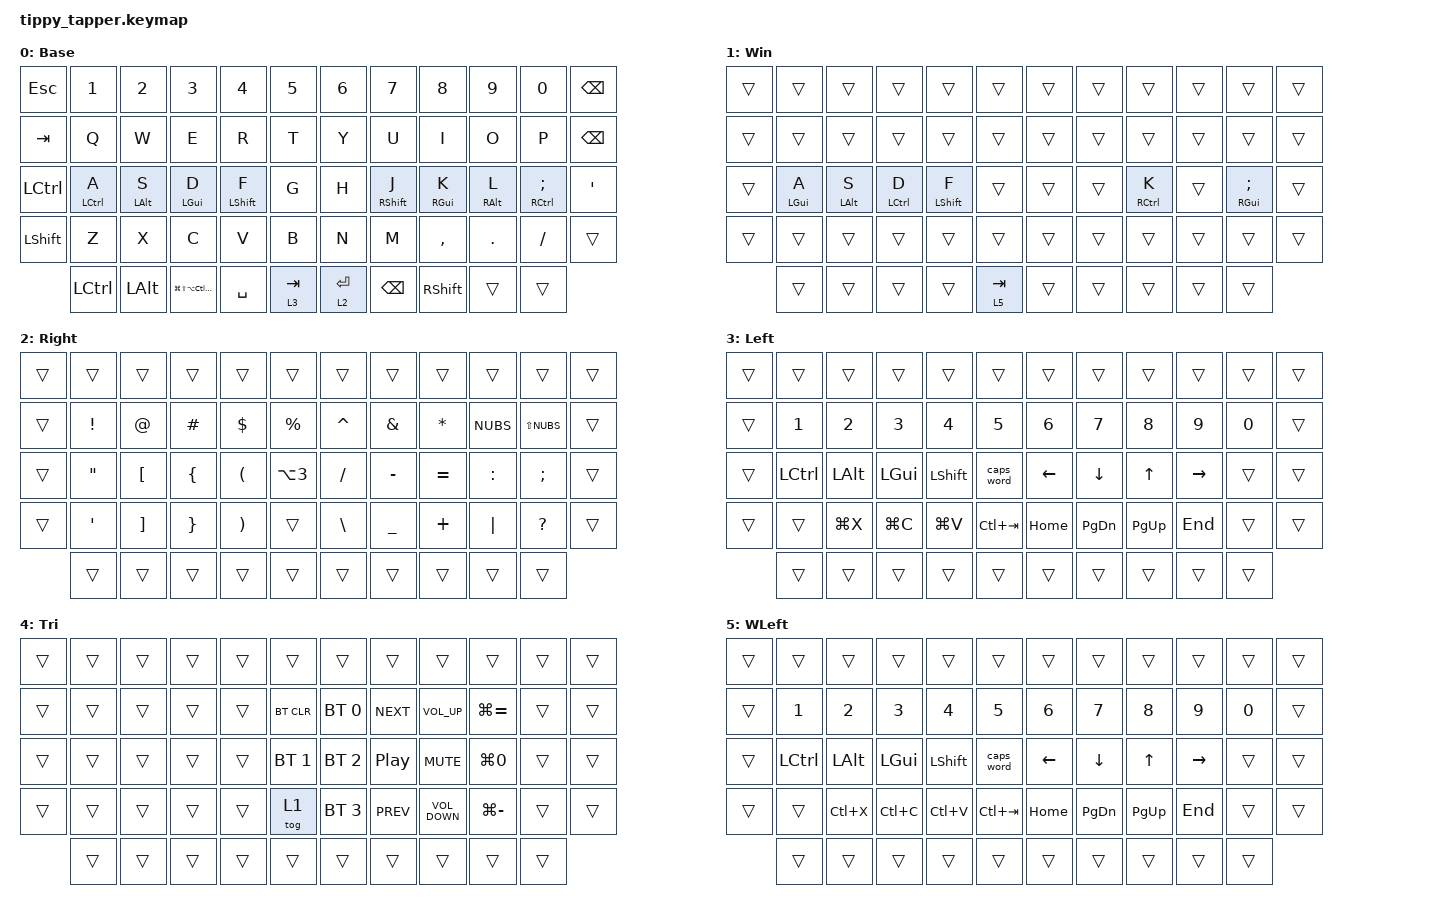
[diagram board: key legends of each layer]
/*
 * Copyright (c) 2020 The ZMK Contributors
 *
 * SPDX-License-Identifier: MIT
 */

#include <behaviors.dtsi>
#include <dt-bindings/zmk/bt.h>
#include <dt-bindings/zmk/keys.h>

&lt {
    tapping-term-ms = <200>;
    quick-tap-ms = <150>;
};

/ {
    combos {
        compatible = "zmk,combos";

        escape {
            bindings = <&kp ESCAPE>;
            key-positions = <32 31>;
        };
    };

    behaviors {
        hrml: hrml {
            compatible = "zmk,behavior-hold-tap";
            label = "HRML";
            bindings = <&kp>, <&kp>;

            #binding-cells = <2>;
            tapping-term-ms = <280>;
            hold-trigger-key-positions = <6 7 8 9 10 11 18 19 20 21 22 23 30 31 32 33 34 35 42 43 44 45 46 47 53 54 55 56 57>;
            flavor = "balanced";
            quick-tap-ms = <175>;
            require-prior-idle-ms = <150>;
            hold-trigger-on-release;
        };

        hrmr: hrmr {
            compatible = "zmk,behavior-hold-tap";
            label = "HRMR";
            bindings = <&kp>, <&kp>;

            #binding-cells = <2>;
            tapping-term-ms = <280>;
            hold-trigger-key-positions = <0 1 2 3 4 5 12 13 14 15 16 17 24 25 26 27 28 29 36 37 38 39 40 41 48 49 50 51 52>;
            flavor = "balanced";
            quick-tap-ms = <175>;
            require-prior-idle-ms = <150>;
            hold-trigger-on-release;
        };
    };

    keymap {
        compatible = "zmk,keymap";

        default_layer {
            // -----------------------------------------------------------------------------------------
            // |  ESC |  1  |  2  |  3  |  4  |  5  |   |  6  |  7   |  8  |  9  |  0  | BSPC |
            // |  TAB |  Q  |  W  |  E  |  R  |  T  |   |  Y  |  U   |  I  |  O  |  P  | BSPC |
            // | CTRL |  A  |  S  |  D  |  F  |  G  |   |  H  |  J   |  K  |  L  |  ;  |  '   |
            // | SHFT |  Z  |  X  |  C  |  V  |  B  |   |  N  |  M   |  ,  |  .  |  /  | ESC  |
            //        | CTRL | ALT | GUI | SPC  | LWR |   | RSE | BSPC  | GUI |  ALT | CTRL |

            display-name = "Base";
            bindings = <
&kp ESC    &kp N1                &kp N2            &kp N3                        &kp N4              &kp N5       &kp N6       &kp N7               &kp N8             &kp N9             &kp N0                    &kp BSPC
&kp TAB    &kp Q                 &kp W             &kp E                         &kp R               &kp T        &kp Y        &kp U                &kp I              &kp O              &kp P                     &kp BSPC
&kp LCTRL  &hrml LEFT_CONTROL A  &hrml LEFT_ALT S  &hrml LEFT_GUI D              &hrml LEFT_SHIFT F  &kp G        &kp H        &hrmr RIGHT_SHIFT J  &hrmr RIGHT_GUI K  &hrmr RIGHT_ALT L  &hrmr RIGHT_CONTROL SEMI  &kp SQT
&kp LSHFT  &kp Z                 &kp X             &kp C                         &kp V               &kp B        &kp N        &kp M                &kp COMMA          &kp DOT            &kp FSLH                  &trans
           &kp LEFT_CONTROL      &kp LEFT_ALT      &kp LG(LS(LA(LC(LEFT_GUI))))  &kp SPACE           &lt 3 TAB    &lt 2 ENTER  &kp BACKSPACE        &kp RIGHT_SHIFT    &trans             &trans
            >;
        };

        WIN {
            display-name = "Win";
            bindings = <
&trans  &trans            &trans            &trans         &trans              &trans       &trans  &trans  &trans         &trans  &trans                     &trans
&trans  &trans            &trans            &trans         &trans              &trans       &trans  &trans  &trans         &trans  &trans                     &trans
&trans  &hrml LEFT_GUI A  &hrml LEFT_ALT S  &hrml LCTRL D  &hrml LEFT_SHIFT F  &trans       &trans  &trans  &hrmr RCTRL K  &trans  &hrmr RIGHT_GUI SEMICOLON  &trans
&trans  &trans            &trans            &trans         &trans              &trans       &trans  &trans  &trans         &trans  &trans                     &trans
        &trans            &trans            &trans         &trans              &lt 5 TAB    &trans  &trans  &trans         &trans  &trans
            >;
        };

        Right {
            display-name = "Right";
            bindings = <
&trans  &trans             &trans    &trans           &trans                 &trans         &trans     &trans          &trans     &trans     &trans        &trans
&trans  &kp EXCL           &kp AT    &kp HASH         &kp DLLR               &kp PERCENT    &kp CARET  &kp AMPS        &kp ASTRK  &kp NUBS   &kp LS(NUBS)  &trans
&trans  &kp DOUBLE_QUOTES  &kp LBKT  &kp LEFT_BRACE   &kp LEFT_PARENTHESIS   &kp LA(N3)     &kp FSLH   &kp MINUS       &kp EQUAL  &kp COLON  &kp SEMI      &trans
&trans  &kp SINGLE_QUOTE   &kp RBKT  &kp RIGHT_BRACE  &kp RIGHT_PARENTHESIS  &trans         &kp BSLH   &kp UNDERSCORE  &kp PLUS   &kp PIPE   &kp QUESTION  &trans
        &trans             &trans    &trans           &trans                 &trans         &trans     &trans          &trans     &trans     &trans
            >;
        };

        Left {
            display-name = "Left";
            bindings = <
&trans  &trans            &trans        &trans        &trans          &trans         &trans    &trans         &trans       &trans     &trans  &trans
&trans  &kp N1            &kp N2        &kp N3        &kp N4          &kp N5         &kp N6    &kp N7         &kp N8       &kp N9     &kp N0  &trans
&trans  &kp LEFT_CONTROL  &kp LEFT_ALT  &kp LEFT_GUI  &kp LEFT_SHIFT  &caps_word     &kp LEFT  &kp DOWN       &kp UP       &kp RIGHT  &trans  &trans
&trans  &trans            &kp LG(X)     &kp LG(C)     &kp LG(V)       &kp LC(TAB)    &kp HOME  &kp PAGE_DOWN  &kp PAGE_UP  &kp END    &trans  &trans
        &trans            &trans        &trans        &trans          &trans         &trans    &trans         &trans       &trans     &trans
            >;
        };

        Tri {
            display-name = "Tri";
            bindings = <
&trans  &trans  &trans  &trans  &trans  &trans          &trans        &trans            &trans             &trans         &trans  &trans
&trans  &trans  &trans  &trans  &trans  &bt BT_CLR      &bt BT_SEL 0  &kp C_NEXT        &kp C_VOLUME_UP    &kp LG(EQUAL)  &trans  &trans
&trans  &trans  &trans  &trans  &trans  &bt BT_SEL 1    &bt BT_SEL 2  &kp C_PLAY_PAUSE  &kp C_MUTE         &kp LG(N0)     &trans  &trans
&trans  &trans  &trans  &trans  &trans  &tog 1          &bt BT_SEL 3  &kp C_PREV        &kp C_VOLUME_DOWN  &kp LG(MINUS)  &trans  &trans
        &trans  &trans  &trans  &trans  &trans          &trans        &trans            &trans             &trans         &trans
            >;
        };

        WIN_Left {
            display-name = "WLeft";
            bindings = <
&trans  &trans            &trans        &trans        &trans          &trans         &trans    &trans         &trans       &trans     &trans  &trans
&trans  &kp N1            &kp N2        &kp N3        &kp N4          &kp N5         &kp N6    &kp N7         &kp N8       &kp N9     &kp N0  &trans
&trans  &kp LEFT_CONTROL  &kp LEFT_ALT  &kp LEFT_GUI  &kp LEFT_SHIFT  &caps_word     &kp LEFT  &kp DOWN       &kp UP       &kp RIGHT  &trans  &trans
&trans  &trans            &kp LC(X)     &kp LC(C)     &kp LC(V)       &kp LC(TAB)    &kp HOME  &kp PAGE_DOWN  &kp PAGE_UP  &kp END    &trans  &trans
        &trans            &trans        &trans        &trans          &trans         &trans    &trans         &trans       &trans     &trans
            >;
        };
    };

    conditional_layers {
        compatible = "zmk,conditional-layers";

        Tri {
            if-layers = <2 3>;
            then-layer = <4>;
        };

        WIN_Tri {
            if-layers = <2 5>;
            then-layer = <4>;
        };
    };
};
